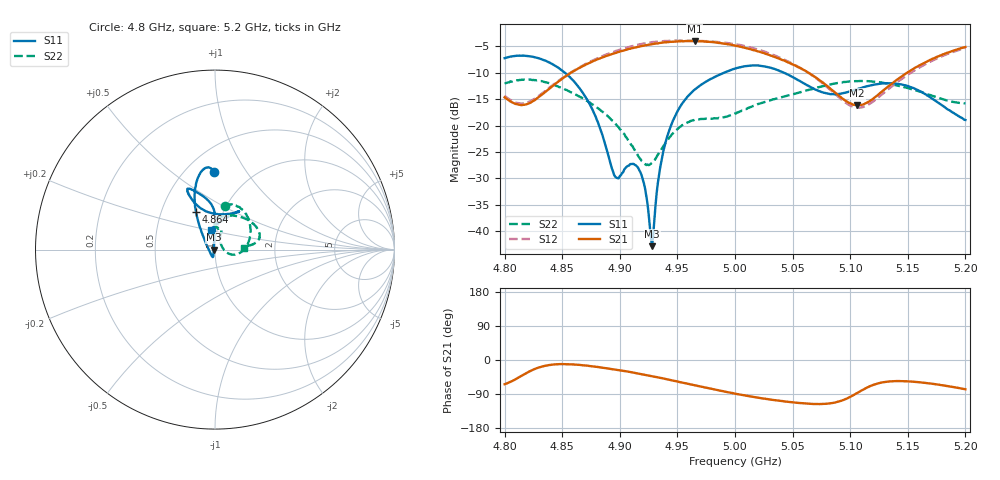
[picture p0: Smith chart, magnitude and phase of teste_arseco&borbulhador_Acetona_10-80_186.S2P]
! Network Analyzer HP8722D
! Hewlett-Packard
! Data name: Linha & Wilkinson
! Saver's name: Rodrigo Anjos
! Comments: Teste da utilização de aquisição
! continua pelo VNA HP8722D
! Time and date: 25/4/2025 16:49
!  Frequency  S11  S21  S12  S22
# HZ  S  MA R 50
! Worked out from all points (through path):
!   401 points, 4.8 GHz to 5.2 GHz, reference 50 ohm
!   highest |S21| = -3.98 dB at 4.965 GHz (marker M1); lowest = -16.2 dB at 5.106 GHz (marker M2)
!   lowest |S11| = -42.8 dB at 4.928 GHz (marker M3), VSWR 1.01, Z = 49.3 + j0.0376 ohm
!   |S11| at or under -10 dB: 4.852 GHz to 4.99 GHz (137.8 MHz wide, 2.8 % of centre); 5.043 GHz to end of sweep
!   |S22| runs from -27.5 to -11.3 dB; largest |S21 - S12| = 1.2
!   S11 on the Smith chart (normalised r, x): 4.8 GHz: 0.67, +0.72; 4.864 GHz: 0.75, +0.33; 5.2 GHz: 0.94, +0.21
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4.8e9  0.4351 90.9  0.1855 -64.0  0.1912 69.4  0.2498 77.6
4.82e9  0.4551 97.3  0.1607 -32.7  0.1663 98.1  0.2714 62.1
4.844e9  0.3677 107.0  0.2482 -11.5  0.2518 119.2  0.2404 35.9
4.864e9  0.2342 116.9  0.3486 -12.6  0.3505 121.1  0.1907 12.5
4.867e9  0.2112 118.5  0.3617 -13.5  0.366 120.7  0.1837 9.0
4.88e9  0.1139 128.7  0.4219 -18.1  0.4307 118.4  0.1486 -4.8
4.896e9  0.03286 -169.1  0.4859 -25.3  0.506 113.4  0.1048 -15.4
4.91e9  0.0434 -108.1  0.5385 -32.3  0.562 107.4  0.06545 -13.5
4.917e9  0.03769 -104.6  0.56 -36.2  0.5876 103.7  0.0496 -1.1
4.922e9  0.02522 -109.0  0.5745 -39.1  0.6011 100.9  0.04317 15.6
4.928e9  0.00724 177.0  0.5909 -42.7  0.6166 97.2  0.04445 39.6
4.934e9  0.03394 99.8  0.6042 -46.5  0.6274 93.4  0.0549 57.3
4.939e9  0.06484 93.2  0.6142 -49.6  0.6329 90.2  0.0668 64.9
4.946e9  0.1106 90.1  0.6225 -54.2  0.6364 85.8  0.08424 69.7
4.965e9  0.2192 91.2  0.6321 -66.8  0.6352 73.8  0.1139 71.5
5e9  0.3464 109.3  0.5728 -88.8  0.5918 51.0  0.1304 88.1
5.03e9  0.3552 115.5  0.4651 -104.0  0.4824 33.9  0.1725 85.4
5.067e9  0.228 105.7  0.3012 -115.8  0.2987 23.7  0.2216 57.3
5.106e9  0.2204 65.4  0.1557 -87.1  0.1479 55.6  0.2635 24.9
5.134e9  0.2521 57.9  0.2394 -56.6  0.2252 88.8  0.2486 12.5
5.168e9  0.1901 69.8  0.4123 -61.7  0.395 85.4  0.1963 7.0
5.2e9  0.113 100.8  0.5544 -77.3  0.5433 70.4  0.1621 3.9
